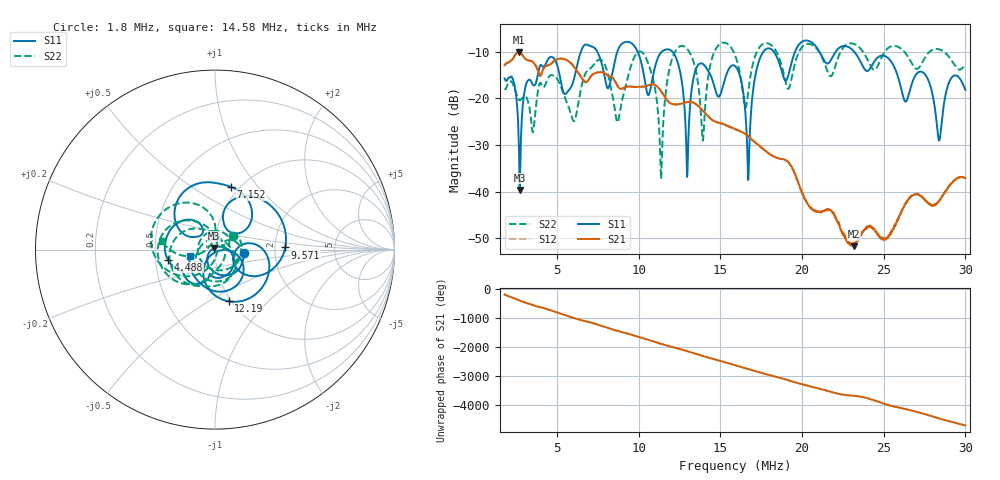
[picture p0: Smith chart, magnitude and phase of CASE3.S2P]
!Agilent Technologies,E5061B,MY49101568,A.02.00
!Date: Wed Mar 01 12:24:16 2023
!Data & Calibration Information:
!Freq	S11:SOLT2(OFF)	S21:SOLT2(OFF)	S12:SOLT2(OFF)	S22:SOLT2(OFF)
# Hz S dB R 50
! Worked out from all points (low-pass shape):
!   1155 points, 1.8 MHz to 30 MHz, reference 50 ohm
!   highest |S21| = -10.01 dB at 2.655 MHz (marker M1); lowest = -51.7 dB at 23.16 MHz (marker M2)
!   |S21| within 3 dB of the highest: start of sweep to 3.718 MHz; 4.313 MHz to 6.008 MHz (1.695 MHz wide, 32.8 % of centre)
!   lowest |S11| = -39.6 dB at 2.729 MHz (marker M3), VSWR 1.02, Z = 49.6 + j0.964 ohm
!   |S11| at or under -10 dB: start of sweep to 6.461 MHz; 12.08 MHz to 17.63 MHz (5.545 MHz wide, 37.3 % of centre); 23.21 MHz to end of sweep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
!   |S22| runs from -37.3 to -8.0 dB; largest |S21 - S12| = 0.004
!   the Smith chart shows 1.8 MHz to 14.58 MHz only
!   S11 on the Smith chart (normalised r, x): 1.8 MHz: 1.39, -0.05; 4.488 MHz: 0.58, -0.07; 7.152 MHz: 0.91, +0.74; 9.571 MHz: 2.29, +0.07; 12.19 MHz: 0.97, -0.62; 14.58 MHz: 0.75, -0.06
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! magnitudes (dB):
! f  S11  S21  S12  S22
! 1.8 MHz  -15.7  -12.8  -12.8  -17.9
! 2.655 MHz  -28.0  -10.0  -10.0  -20.1
! 2.729 MHz  -39.6  -10.1  -10.1  -20.4
! 4.488 MHz  -11.4  -12.8  -12.9  -15.5
! 6.516 MHz  -9.5  -15.6  -15.5  -17.2
! 7.152 MHz  -8.8  -15.0  -14.9  -13.2
! 8.716 MHz  -9.8  -17.4  -17.2  -25.1
! 9.571 MHz  -8.1  -17.5  -17.4  -12.6
! 11.21 MHz  -11.1  -17.7  -17.7  -23.8
! 12.19 MHz  -10.5  -21.2  -21.3  -10.3
! 12.97 MHz  -36.9  -20.7  -20.8  -9.3
! 13.92 MHz  -12.6  -22.5  -22.6  -29.1
! 14.58 MHz  -16.8  -24.8  -24.8  -10.5
! 15.9 MHz  -13.0  -26.6  -26.6  -10.7
! 16.71 MHz  -37.5  -28.1  -28.1  -18.7
! 17.59 MHz  -10.2  -30.7  -30.8  -8.3
! 19.15 MHz  -15.2  -33.6  -33.7  -17.9
! 20.62 MHz  -8.0  -43.8  -43.6  -8.5
! 23.16 MHz  -9.8  -51.7  -51.0  -8.2
! 25.31 MHz  -11.5  -49.4  -49.4  -9.1
! 28.39 MHz  -29.1  -42.0  -42.0  -9.4
! 30 MHz  -18.2  -37.1  -37.1  -12.6
